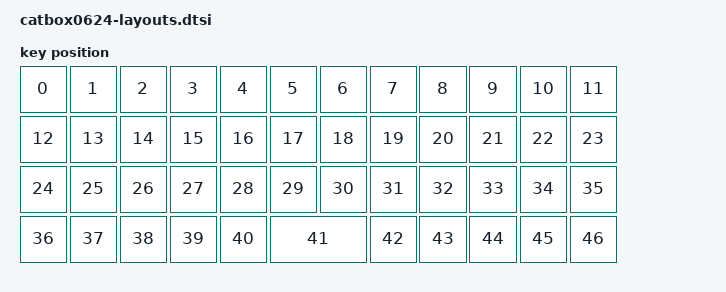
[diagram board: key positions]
// Planck 4x12 physical layout with 2u spacebar (MIT layout)
// 47 physical keys total: 3 rows of 12 + 1 row of 11 (2u key at bottom center)
// 2u key at matrix col 5, physically spans cols 6-7 (1-indexed), matrix col 6 is empty
// See https://zmk.dev/docs/development/hardware-integration/physical-layouts

#include <physical_layouts.dtsi>

/ {
    default_layout: default_layout {
        compatible = "zmk,physical-layout";
        display-name = "Default Layout";
        transform = <&default_transform>;
        kscan = <&kscan>;

        // Physical key positions: 47 keys
        keys  //                     w   h    x    y     rot    rx    ry
            // Row 0 (top) — 12 x 1u
            = <&key_physical_attrs 100 100    0    0       0     0     0>
            , <&key_physical_attrs 100 100  100    0       0     0     0>
            , <&key_physical_attrs 100 100  200    0       0     0     0>
            , <&key_physical_attrs 100 100  300    0       0     0     0>
            , <&key_physical_attrs 100 100  400    0       0     0     0>
            , <&key_physical_attrs 100 100  500    0       0     0     0>
            , <&key_physical_attrs 100 100  600    0       0     0     0>
            , <&key_physical_attrs 100 100  700    0       0     0     0>
            , <&key_physical_attrs 100 100  800    0       0     0     0>
            , <&key_physical_attrs 100 100  900    0       0     0     0>
            , <&key_physical_attrs 100 100 1000    0       0     0     0>
            , <&key_physical_attrs 100 100 1100    0       0     0     0>
            // Row 1 — 12 x 1u
            , <&key_physical_attrs 100 100    0  100       0     0     0>
            , <&key_physical_attrs 100 100  100  100       0     0     0>
            , <&key_physical_attrs 100 100  200  100       0     0     0>
            , <&key_physical_attrs 100 100  300  100       0     0     0>
            , <&key_physical_attrs 100 100  400  100       0     0     0>
            , <&key_physical_attrs 100 100  500  100       0     0     0>
            , <&key_physical_attrs 100 100  600  100       0     0     0>
            , <&key_physical_attrs 100 100  700  100       0     0     0>
            , <&key_physical_attrs 100 100  800  100       0     0     0>
            , <&key_physical_attrs 100 100  900  100       0     0     0>
            , <&key_physical_attrs 100 100 1000  100       0     0     0>
            , <&key_physical_attrs 100 100 1100  100       0     0     0>
            // Row 2 — 12 x 1u
            , <&key_physical_attrs 100 100    0  200       0     0     0>
            , <&key_physical_attrs 100 100  100  200       0     0     0>
            , <&key_physical_attrs 100 100  200  200       0     0     0>
            , <&key_physical_attrs 100 100  300  200       0     0     0>
            , <&key_physical_attrs 100 100  400  200       0     0     0>
            , <&key_physical_attrs 100 100  500  200       0     0     0>
            , <&key_physical_attrs 100 100  600  200       0     0     0>
            , <&key_physical_attrs 100 100  700  200       0     0     0>
            , <&key_physical_attrs 100 100  800  200       0     0     0>
            , <&key_physical_attrs 100 100  900  200       0     0     0>
            , <&key_physical_attrs 100 100 1000  200       0     0     0>
            , <&key_physical_attrs 100 100 1100  200       0     0     0>
            // Row 3 (bottom) — cols 0-4: 5 x 1u
            , <&key_physical_attrs 100 100    0  300       0     0     0>
            , <&key_physical_attrs 100 100  100  300       0     0     0>
            , <&key_physical_attrs 100 100  200  300       0     0     0>
            , <&key_physical_attrs 100 100  300  300       0     0     0>
            , <&key_physical_attrs 100 100  400  300       0     0     0>
            // Row 3 — col 5: 2u spacebar (w=200, x=500, spans cols 6-7 物理位置)
            , <&key_physical_attrs 200 100  500  300       0     0     0>
            // Row 3 — col 6: empty (no physical switch at x=600)
            // Row 3 — cols 7-11: 5 x 1u (x starts at 700, skipping col 7)
            , <&key_physical_attrs 100 100  700  300       0     0     0>
            , <&key_physical_attrs 100 100  800  300       0     0     0>
            , <&key_physical_attrs 100 100  900  300       0     0     0>
            , <&key_physical_attrs 100 100 1000  300       0     0     0>
            , <&key_physical_attrs 100 100 1100  300       0     0     0>
            ;
    };
};
